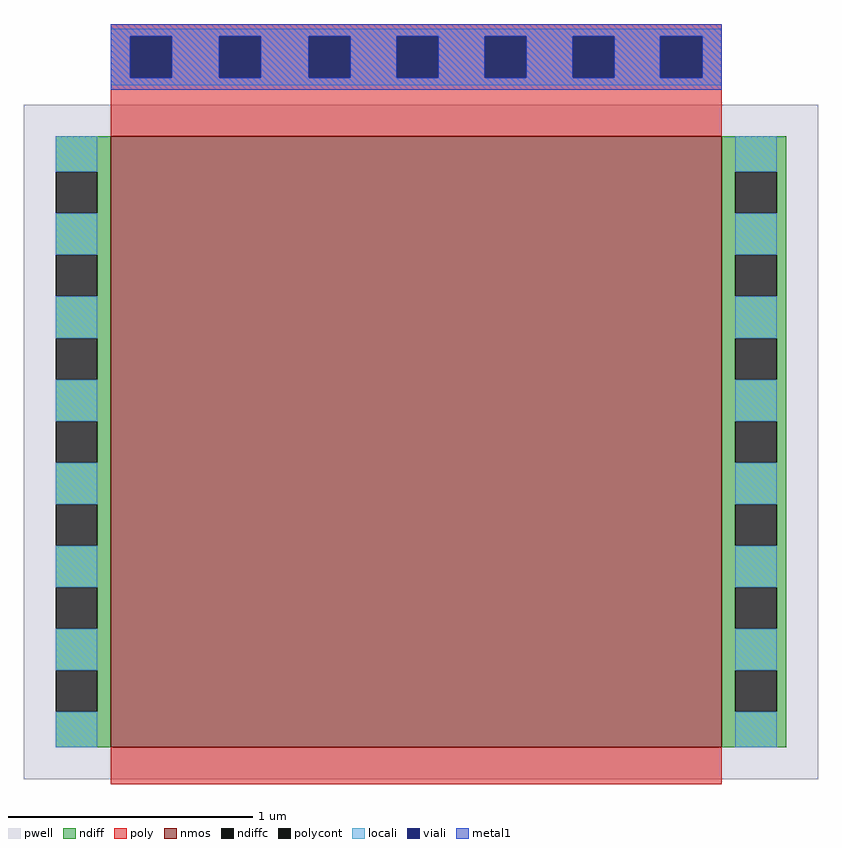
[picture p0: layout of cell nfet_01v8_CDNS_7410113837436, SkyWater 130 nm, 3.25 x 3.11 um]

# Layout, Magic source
magic
tech sky130A
magscale 1 2
<< pwell >>
rect -71 -26 579 526
<< nmos >>
rect 0 0 500 500
<< ndiff >>
rect -45 471 0 500
rect -11 437 0 471
rect -45 403 0 437
rect -11 369 0 403
rect -45 335 0 369
rect -11 301 0 335
rect -45 267 0 301
rect -11 233 0 267
rect -45 199 0 233
rect -11 165 0 199
rect -45 131 0 165
rect -11 97 0 131
rect -45 63 0 97
rect -11 29 0 63
rect -45 0 0 29
rect 500 471 553 500
rect 500 437 511 471
rect 545 437 553 471
rect 500 403 553 437
rect 500 369 511 403
rect 545 369 553 403
rect 500 335 553 369
rect 500 301 511 335
rect 545 301 553 335
rect 500 267 553 301
rect 500 233 511 267
rect 545 233 553 267
rect 500 199 553 233
rect 500 165 511 199
rect 545 165 553 199
rect 500 131 553 165
rect 500 97 511 131
rect 545 97 553 131
rect 500 63 553 97
rect 500 29 511 63
rect 545 29 553 63
rect 500 0 553 29
<< ndiffc >>
rect -45 437 -11 471
rect -45 369 -11 403
rect -45 301 -11 335
rect -45 233 -11 267
rect -45 165 -11 199
rect -45 97 -11 131
rect -45 29 -11 63
rect 511 437 545 471
rect 511 369 545 403
rect 511 301 545 335
rect 511 233 545 267
rect 511 165 545 199
rect 511 97 545 131
rect 511 29 545 63
<< poly >>
rect 0 582 500 592
rect 0 548 16 582
rect 50 548 89 582
rect 123 548 162 582
rect 196 548 234 582
rect 268 548 306 582
rect 340 548 378 582
rect 412 548 450 582
rect 484 548 500 582
rect 0 500 500 548
rect 0 -30 500 0
<< polycont >>
rect 16 548 50 582
rect 89 548 123 582
rect 162 548 196 582
rect 234 548 268 582
rect 306 548 340 582
rect 378 548 412 582
rect 450 548 484 582
<< locali >>
rect 0 582 500 588
rect 0 548 16 582
rect 50 548 89 582
rect 123 548 162 582
rect 196 548 234 582
rect 268 548 306 582
rect 340 548 378 582
rect 412 548 450 582
rect 484 548 500 582
rect 0 542 500 548
rect -45 471 -11 500
rect -45 403 -11 437
rect -45 335 -11 369
rect -45 267 -11 301
rect -45 199 -11 233
rect -45 131 -11 165
rect -45 63 -11 97
rect -45 0 -11 29
rect 511 471 545 500
rect 511 403 545 437
rect 511 335 545 369
rect 511 267 545 301
rect 511 199 545 233
rect 511 131 545 165
rect 511 63 545 97
rect 511 0 545 29
<< viali >>
rect 16 548 50 582
rect 89 548 123 582
rect 162 548 196 582
rect 234 548 268 582
rect 306 548 340 582
rect 378 548 412 582
rect 450 548 484 582
<< metal1 >>
rect 0 582 500 592
rect 0 548 16 582
rect 50 548 89 582
rect 123 548 162 582
rect 196 548 234 582
rect 268 548 306 582
rect 340 548 378 582
rect 412 548 450 582
rect 484 548 500 582
rect 0 538 500 548
<< end >>
